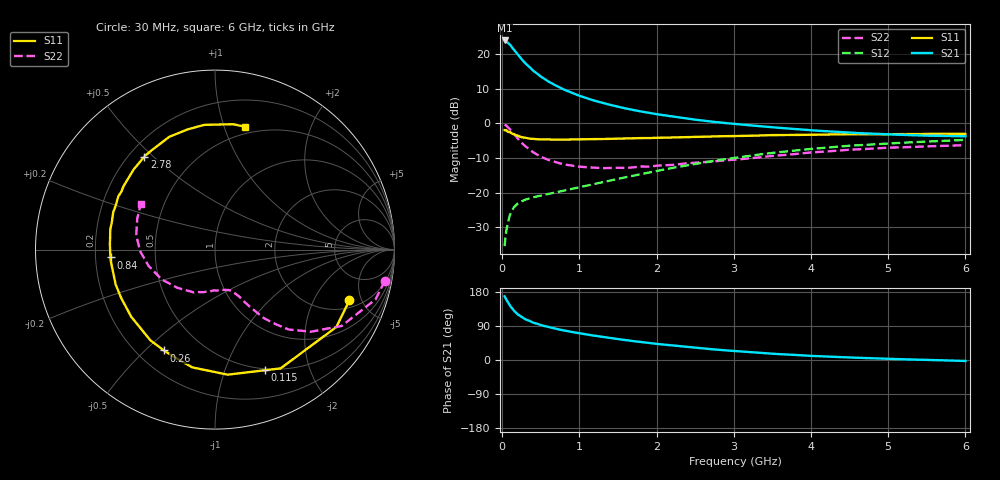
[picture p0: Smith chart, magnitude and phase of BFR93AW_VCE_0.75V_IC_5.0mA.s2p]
! Infineon Technologies  Discrete & RF Semiconductors
! BFR93AW
! VCE = 0.75 V,  IC =  5.0 mA
! Common Emitter S-Parameters:  Nov 2015
# GHz  S  MA  R  50
!  f  S11  S21  S12  S22
! GHz  MAG  ANG  MAG  ANG  MAG  ANG  MAG  ANG
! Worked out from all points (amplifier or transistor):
!   206 points, 30 MHz to 6 GHz, reference 50 ohm
!   highest |S21| = 24.0 dB at 30 MHz (marker M1)
!   |S21| within 3 dB of that: start of sweep to 162.2 MHz
!   unconditionally stable (mu >= 1): 896.9 MHz to 2.757 GHz
!   at 200 MHz: K = 0.31, MSG = 21.5 dB, |S12| = -23.1 dB
!   at 1.56 GHz: K = 1.13, MAG = 8.0 dB, |S12| = -15.8 dB
!   at 6 GHz: K = 1.00, MSG = 0.5 dB, |S12| = -4.8 dB
!   S11 on the Smith chart (normalised r, x): 30 MHz: 2.53, -3.96; 115 MHz: 0.48, -1.38; 260 MHz: 0.31, -0.57; 840 MHz: 0.26, -0.03; 2.78 GHz: 0.26, +0.47; 6 GHz: 0.43, +1.18
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0.03  0.8003 -20.6  15.82 168.0  0.0168 79.1  0.9628 -10.4
0.05  0.8022 -32.5  15.53 159.8  0.0272 73.4  0.9367 -17.2
0.1  0.756 -61.1  13.75 143.0  0.0478 60.6  0.8238 -31.1
0.115  0.7272 -67.6  13.05 139.5  0.0517 57.6  0.7855 -33.6
0.15  0.7005 -84.2  11.64 129.9  0.0612 52.1  0.7031 -40.6
0.2  0.6683 -100.9  9.924 120.5  0.0696 46.5  0.6058 -47.3
0.24  0.638 -111.9  8.751 114.8  0.0736 43.7  0.5402 -50.6
0.26  0.6299 -116.9  8.248 112.1  0.0755 42.7  0.5126 -52.1
0.3  0.6207 -125.4  7.376 107.4  0.0791 41.0  0.467 -54.6
0.4  0.5982 -141.3  5.781 98.6  0.0855 39.6  0.3823 -58.2
0.5  0.5882 -152.6  4.751 91.9  0.0906 40.0  0.3291 -60.9
0.6  0.5866 -160.7  4.018 86.7  0.0957 41.0  0.2961 -62.6
0.7  0.5819 -167.8  3.496 81.9  0.101 42.7  0.2733 -64.7
0.84  0.5838 -175.7  2.954 76.3  0.1094 45.3  0.2512 -68.1
1.04  0.5869 175.3  2.423 69.1  0.1224 48.4  0.235 -73.2
1.5  0.6042 159.8  1.739 55.1  0.1576 53.9  0.229 -87.6
2.02  0.6205 144.8  1.348 42.1  0.2074 55.7  0.2458 -105.1
2.78  0.6508 127.2  1.043 27.3  0.2919 53.0  0.2844 -128.7
3.1  0.6591 120.2  0.962 22.4  0.3278 50.4  0.3049 -138.1
4.1  0.6878 101.4  0.782 10.1  0.4371 39.5  0.3864 -168.7
5.1  0.6983 86.8  0.688 2.5  0.5203 27.4  0.4486 167.4
6  0.7048 76.2  0.652 -2.6  0.5779 17.3  0.4859 148.4
